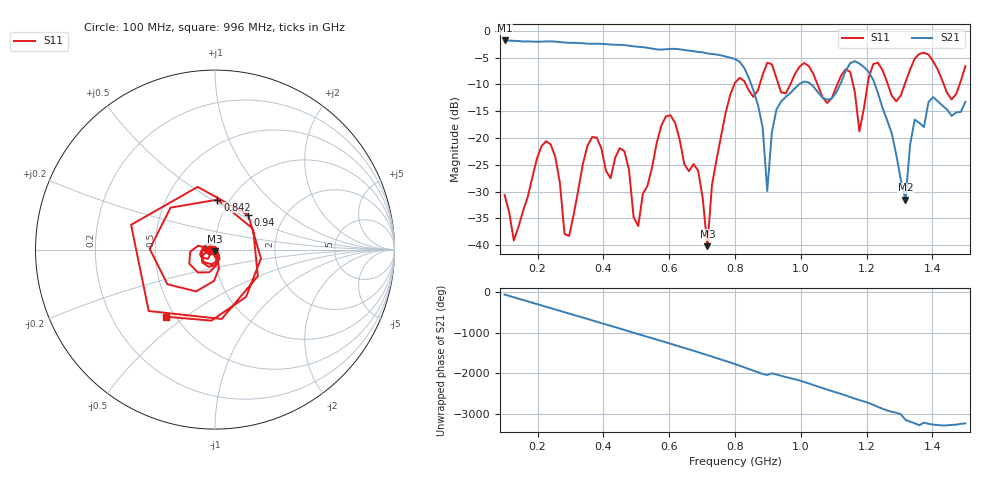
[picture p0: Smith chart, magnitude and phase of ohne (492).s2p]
! NanoVNA-App
! Date: 2025-09-25 14:24:37
! Start: 100MHz Stop: 1,5GHz Points: 101
! S-Parameter data: F S11 S21 S12 S22
# Hz S RI R 50
!  Frequency  S11_Real  S11_Imag  S21_Real  S21_Imag  S12_Real  S12_Imag  S22_Real  S22_Imag
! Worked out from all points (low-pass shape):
!   101 points, 100 MHz to 1.5 GHz, reference 50 ohm
!   highest |S21| = -1.79 dB at 100 MHz (marker M1); lowest = -31.5 dB at 1.318 GHz (marker M2)
!   |S21| within 3 dB of the highest: start of sweep to 771.9 MHz
!   lowest |S11| = -40.2 dB at 716 MHz (marker M3), VSWR 1.02, Z = 49.8 - j0.951 ohm
!   |S11| at or under -10 dB: start of sweep to 797.9 MHz; 833.2 MHz to 875.1 MHz (41.97 MHz wide, 4.91 % of centre); 1.051 GHz to 1.111 GHz (60.21 MHz wide, 5.57 % of centre) (the widest 3 of 7)
!   S12 and S22 are empty: the file has one direction only
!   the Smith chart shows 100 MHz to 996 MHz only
!   S11 on the Smith chart (normalised r, x): 100 MHz: 0.94, -0.01; 842 MHz: 0.88, +0.53; 940 MHz: 1.32, +0.55; 996 MHz: 0.45, -0.43
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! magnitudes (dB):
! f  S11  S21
! 100 MHz  -30.6  -1.8
! 128 MHz  -39.1  -1.9
! 226 MHz  -20.6  -2.0
! 296 MHz  -38.3  -2.2
! 338 MHz  -24.8  -2.3
! 464 MHz  -22.5  -2.7
! 506 MHz  -36.4  -3.0
! 576 MHz  -17.7  -3.5
! 688 MHz  -26.1  -3.9
! 716 MHz  -40.2  -4.2
! 800 MHz  -9.7  -5.3
! 842 MHz  -11.1  -8.8
! 898 MHz  -6.0  -29.9
! 940 MHz  -11.5  -13.2
! 996 MHz  -6.7  -9.9
! 1.038 GHz  -8.0  -10.4
! 1.178 GHz  -18.8  -6.1
! 1.22 GHz  -6.2  -9.2
! 1.276 GHz  -12.1  -19.1
! 1.318 GHz  -9.6  -31.5
! 1.346 GHz  -5.2  -16.6
! 1.5 GHz  -6.6  -13.3
